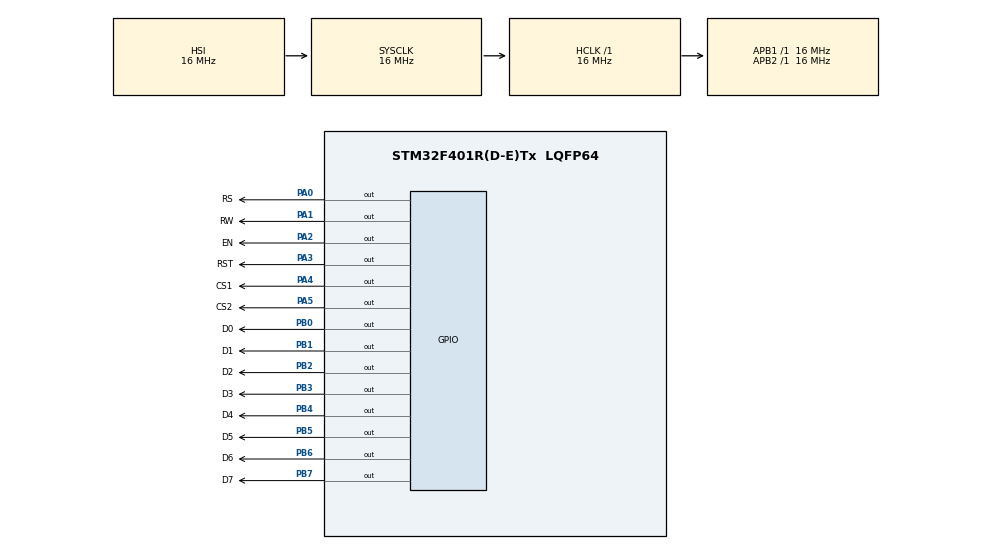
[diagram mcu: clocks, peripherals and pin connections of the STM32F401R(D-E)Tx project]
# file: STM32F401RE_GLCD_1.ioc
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Mcu.Family=STM32F4
Mcu.Name=STM32F401R(D-E)Tx
Mcu.Package=LQFP64
NVIC.PriorityGroup=NVIC_PRIORITYGROUP_4
PA0-WKUP.GPIO_Label=RS
PA0-WKUP.Signal=GPIO_Output
PA1.GPIO_Label=RW
PA1.Signal=GPIO_Output
PA2.GPIO_Label=EN
PA2.Signal=GPIO_Output
PA3.GPIO_Label=RST
PA3.Signal=GPIO_Output
PA4.GPIO_Label=CS1
PA4.Signal=GPIO_Output
PA5.GPIO_Label=CS2
PA5.Signal=GPIO_Output
PB0.GPIO_Label=D0
PB0.Signal=GPIO_Output
PB1.GPIO_Label=D1
PB1.Signal=GPIO_Output
PB2.GPIO_Label=D2
PB2.Signal=GPIO_Output
PB3.GPIO_Label=D3
PB3.Signal=GPIO_Output
PB4.GPIO_Label=D4
PB4.Signal=GPIO_Output
PB5.GPIO_Label=D5
PB5.Signal=GPIO_Output
PB6.GPIO_Label=D6
PB6.Signal=GPIO_Output
PB7.GPIO_Label=D7
PB7.Signal=GPIO_Output
ProjectManager.HeapSize=0x200
ProjectManager.StackSize=0x400
ProjectManager.TargetToolchain=STM32CubeIDE
RCC.AHBFreq_Value=16000000
RCC.APB1Freq_Value=16000000
RCC.APB2Freq_Value=16000000
RCC.CortexFreq_Value=16000000
RCC.HSE_VALUE=25000000
RCC.HSI_VALUE=16000000
RCC.LSE_VALUE=32768
RCC.SYSCLKFreq_VALUE=16000000
RCC.VCOOutputFreq_Value=192000000
board=custom

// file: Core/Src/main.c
/* USER CODE BEGIN Header */
/**
  ******************************************************************************
  * @file           : main.c
  * @brief          : Main program body
  ******************************************************************************
  * @attention
  *
  * Copyright (c) 2024 STMicroelectronics.
  * All rights reserved.
  *
  * This software is licensed under terms that can be found in the LICENSE file
  * in the root directory of this software component.
  * If no LICENSE file comes with this software, it is provided AS-IS.
  *
  ******************************************************************************
  */
/* USER CODE END Header */
#include "main.h"

/* USER CODE BEGIN Includes */
#include "font.h"
/* USER CODE END Includes */

/* USER CODE BEGIN PV */
uint8_t PinArray[] = {D0_Pin, D1_Pin, D2_Pin, D3_Pin, D4_Pin, D5_Pin, D6_Pin, D7_Pin};
uint8_t i = 0;
/* USER CODE END PV */

void SystemClock_Config(void);
static void MX_GPIO_Init(void);
/* USER CODE BEGIN PFP */

void WriteByte(uint8_t byte)
{
    for (i = 0; i < 8; i++)
    {
        HAL_GPIO_WritePin(GPIOB, PinArray[i], ((byte >> i) & 0x01) ? GPIO_PIN_SET : GPIO_PIN_RESET);
    }
}

void GLCD_WriteDataByte(uint8_t byte)
{
    WriteByte(byte);
    HAL_GPIO_WritePin(RS_GPIO_Port, RS_Pin, GPIO_PIN_SET);
    HAL_GPIO_WritePin(RW_GPIO_Port, RW_Pin, GPIO_PIN_RESET);
    HAL_GPIO_WritePin(EN_GPIO_Port, EN_Pin, GPIO_PIN_SET);
    HAL_Delay(2);
    HAL_GPIO_WritePin(EN_GPIO_Port, EN_Pin, GPIO_PIN_RESET);
    HAL_Delay(2);
}

void GLCD_WriteCmdByte(uint8_t byte)
{
    WriteByte(byte);
    HAL_GPIO_WritePin(RS_GPIO_Port, RS_Pin, GPIO_PIN_RESET);
    HAL_GPIO_WritePin(RW_GPIO_Port, RW_Pin, GPIO_PIN_RESET);
    HAL_GPIO_WritePin(EN_GPIO_Port, EN_Pin, GPIO_PIN_SET);
    HAL_Delay(2);
    HAL_GPIO_WritePin(EN_GPIO_Port, EN_Pin, GPIO_PIN_RESET);
    HAL_Delay(2);
}

void GLCD_Initialize(void)
{
    HAL_GPIO_WritePin(CS1_GPIO_Port, CS1_Pin, GPIO_PIN_SET);
    HAL_Delay(1);
    HAL_GPIO_WritePin(CS2_GPIO_Port, CS2_Pin, GPIO_PIN_RESET);
    HAL_Delay(1);
    HAL_GPIO_WritePin(RST_GPIO_Port, RST_Pin, GPIO_PIN_RESET);
    HAL_Delay(10);
    HAL_GPIO_WritePin(RST_GPIO_Port, RST_Pin, GPIO_PIN_SET);
    HAL_Delay(10);
    GLCD_WriteCmdByte(0x3F);
    HAL_Delay(1);
    GLCD_WriteCmdByte(0x40);
    HAL_Delay(1);
    GLCD_WriteCmdByte(0xB8);
    HAL_Delay(1);
    GLCD_WriteCmdByte(0xC0);
}

void GLCD_PageSelect(uint8_t page)
{
    switch (page)
    {
    case 0:
        HAL_GPIO_WritePin(CS1_GPIO_Port, CS1_Pin, GPIO_PIN_RESET);
        HAL_GPIO_WritePin(CS2_GPIO_Port, CS2_Pin, GPIO_PIN_RESET);
        break;
    case 1:
        HAL_GPIO_WritePin(CS1_GPIO_Port, CS1_Pin, GPIO_PIN_SET);
        HAL_GPIO_WritePin(CS2_GPIO_Port, CS2_Pin, GPIO_PIN_RESET);
        break;
    case 2:
        HAL_GPIO_WritePin(CS1_GPIO_Port, CS1_Pin, GPIO_PIN_RESET);
        HAL_GPIO_WritePin(CS2_GPIO_Port, CS2_Pin, GPIO_PIN_SET);
        break;
    case 3:
        HAL_GPIO_WritePin(CS1_GPIO_Port, CS1_Pin, GPIO_PIN_SET);
        HAL_GPIO_WritePin(CS2_GPIO_Port, CS2_Pin, GPIO_PIN_SET);
        break;
    default:
        HAL_GPIO_WritePin(CS1_GPIO_Port, CS1_Pin, GPIO_PIN_RESET);
        HAL_GPIO_WritePin(CS2_GPIO_Port, CS2_Pin, GPIO_PIN_SET);
        break;
    }
}

void GLCD_PrintChar(uint8_t arr[])
{
    GLCD_PageSelect(1);
    for (uint8_t i = 0; i < 6; i++) // Adjust to 6 to include spacing byte
    {
        GLCD_WriteDataByte(arr[i]);
    }
}

void GLCD_SetCursor(uint8_t row, uint8_t col)
{
    GLCD_WriteCmdByte(0xB8 + row); // Assuming 0xB8 is the base address for row
    GLCD_WriteCmdByte(0x40 + col);
}

void GLCD_PrintString(uint8_t *str)
{
	int i = 0;
	int startfont=0,endfont=0;
	while(*str){
		startfont = (*str-32)*5;
		endfont = startfont +5 ;
		for(i=startfont;i<endfont;i++){
			GLCD_WriteDataByte(sys5x7[i]);
			HAL_Delay(1);
		}
		GLCD_WriteDataByte(0x00);
		*str++;
	}
}

void GLCD_WriteFullString(uint8_t *str)
{
    uint8_t row = 0, col = 0;
    uint8_t maxCols = 128; // GLCD width
    uint8_t charWidth = 6; // Character width including space between characters

    while (*str)
    {
        // Select the appropriate half of the GLCD
        if (col >= 64)
        {
            GLCD_PageSelect(2); // Right half
            GLCD_SetCursor(row, col - 64); // Adjust column for the right half
        }
        else
        {
            GLCD_PageSelect(1); // Left half
            GLCD_SetCursor(row, col);
        }

        // Print the character
        uint8_t charIndex = (*str - 32) * 5;
        uint8_t end = charIndex +5;
        for (uint8_t i = charIndex; i < end; i++)
        {
            GLCD_WriteDataByte(sys5x7[ i]);
        }
        GLCD_WriteDataByte(0x00); // Space between characters

        // Move to the next position
        col += charWidth;
        if (col >= maxCols) // Wrap to the next row
        {
            col = 0;
            row++;
            if (row >= 8) // Assuming 8 rows
            {
                row = 0; // Reset to the first row (consider scrolling instead)
            }
        }

        str++;
    }
}

/* USER CODE END PFP */

int main(void)
{

  /* MCU Configuration--------------------------------------------------------*/

  /* Reset of all peripherals, Initializes the Flash interface and the Systick. */
  HAL_Init();

  /* Configure the system clock */
  SystemClock_Config();

  /* Initialize all configured peripherals */
  MX_GPIO_Init();
  /* USER CODE BEGIN 2 */
  GLCD_Initialize();
  //uint8_t message[] = "Hello";
  /* USER CODE END 2 */

  /* Infinite loop */
  /* USER CODE BEGIN WHILE */
  while (1)
  {
      GLCD_SetCursor(0, 0);
      GLCD_PrintString((uint8_t *)"hello !!");
      //GLCD_WriteFullString((uint8_t *)"Hello World!dfsfsfsfs!");
      HAL_Delay(1000); // Delay to prevent message overwriting itself too quickly
    /* USER CODE END WHILE */

  }
}

void SystemClock_Config(void)
{
  RCC_OscInitTypeDef RCC_OscInitStruct = {0};
  RCC_ClkInitTypeDef RCC_ClkInitStruct = {0};

  /** Configure the main internal regulator output voltage
  */
  __HAL_RCC_PWR_CLK_ENABLE();
  __HAL_PWR_VOLTAGESCALING_CONFIG(PWR_REGULATOR_VOLTAGE_SCALE2);

  /** Initializes the RCC Oscillators according to the specified parameters
  * in the RCC_OscInitTypeDef structure.
  */
  RCC_OscInitStruct.OscillatorType = RCC_OSCILLATORTYPE_HSI;
  RCC_OscInitStruct.HSIState = RCC_HSI_ON;
  RCC_OscInitStruct.HSICalibrationValue = RCC_HSICALIBRATION_DEFAULT;
  RCC_OscInitStruct.PLL.PLLState = RCC_PLL_NONE;
  if (HAL_RCC_OscConfig(&RCC_OscInitStruct) != HAL_OK)
  {
    Error_Handler();
  }

  /** Initializes the CPU, AHB and APB buses clocks
  */
  RCC_ClkInitStruct.ClockType = RCC_CLOCKTYPE_HCLK|RCC_CLOCKTYPE_SYSCLK
                              |RCC_CLOCKTYPE_PCLK1|RCC_CLOCKTYPE_PCLK2;
  RCC_ClkInitStruct.SYSCLKSource = RCC_SYSCLKSOURCE_HSI;
  RCC_ClkInitStruct.AHBCLKDivider = RCC_SYSCLK_DIV1;
  RCC_ClkInitStruct.APB1CLKDivider = RCC_HCLK_DIV1;
  RCC_ClkInitStruct.APB2CLKDivider = RCC_HCLK_DIV1;

  if (HAL_RCC_ClockConfig(&RCC_ClkInitStruct, FLASH_LATENCY_0) != HAL_OK)
  {
    Error_Handler();
  }
}

static void MX_GPIO_Init(void)
{
  GPIO_InitTypeDef GPIO_InitStruct = {0};

  /* GPIO Ports Clock Enable */
  __HAL_RCC_GPIOA_CLK_ENABLE();
  __HAL_RCC_GPIOB_CLK_ENABLE();

  /*Configure GPIO pin Output Level */
  HAL_GPIO_WritePin(GPIOA, RS_Pin|RW_Pin|EN_Pin|RST_Pin
                          |CS1_Pin|CS2_Pin, GPIO_PIN_RESET);

  /*Configure GPIO pin Output Level */
  HAL_GPIO_WritePin(GPIOB, D0_Pin|D1_Pin|D2_Pin|D3_Pin
                          |D4_Pin|D5_Pin|D6_Pin|D7_Pin, GPIO_PIN_RESET);

  /*Configure GPIO pins : RS_Pin RW_Pin EN_Pin RST_Pin
                           CS1_Pin CS2_Pin */
  GPIO_InitStruct.Pin = RS_Pin|RW_Pin|EN_Pin|RST_Pin
                          |CS1_Pin|CS2_Pin;
  GPIO_InitStruct.Mode = GPIO_MODE_OUTPUT_PP;
  GPIO_InitStruct.Pull = GPIO_NOPULL;
  GPIO_InitStruct.Speed = GPIO_SPEED_FREQ_LOW;
  HAL_GPIO_Init(GPIOA, &GPIO_InitStruct);

  /*Configure GPIO pins : D0_Pin D1_Pin D2_Pin D3_Pin
                           D4_Pin D5_Pin D6_Pin D7_Pin */
  GPIO_InitStruct.Pin = D0_Pin|D1_Pin|D2_Pin|D3_Pin
                          |D4_Pin|D5_Pin|D6_Pin|D7_Pin;
  GPIO_InitStruct.Mode = GPIO_MODE_OUTPUT_PP;
  GPIO_InitStruct.Pull = GPIO_NOPULL;
  GPIO_InitStruct.Speed = GPIO_SPEED_FREQ_LOW;
  HAL_GPIO_Init(GPIOB, &GPIO_InitStruct);
}

void Error_Handler(void)
{
  __disable_irq();
  while (1)
  {
  }
}
